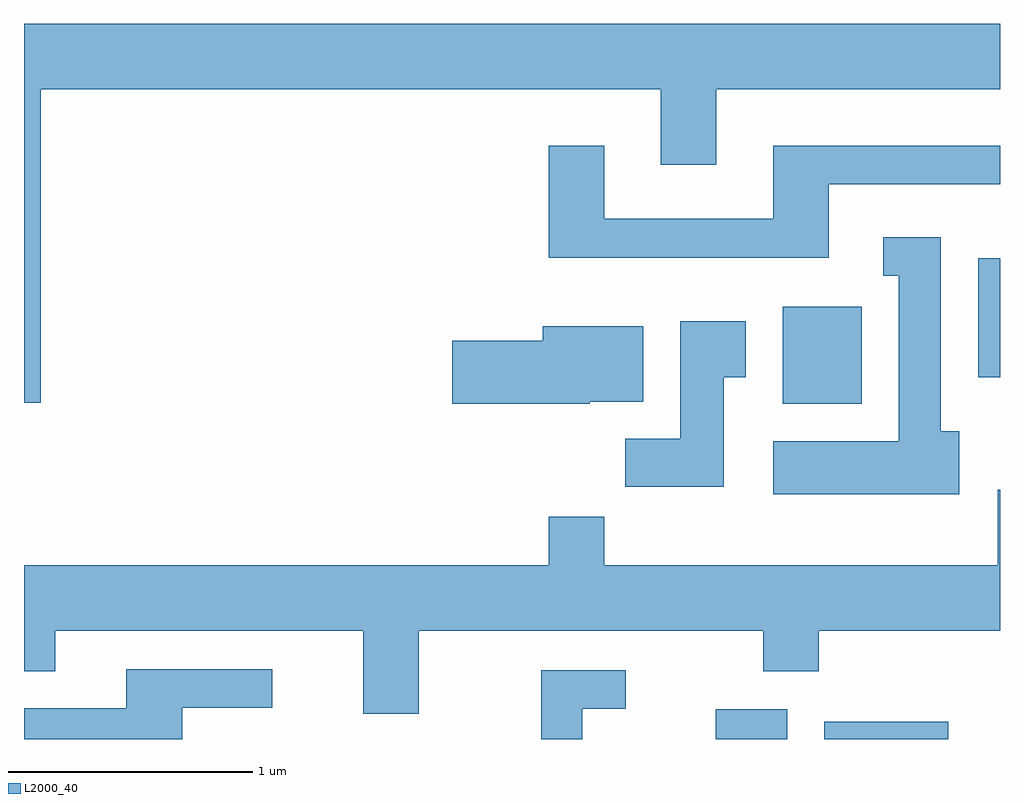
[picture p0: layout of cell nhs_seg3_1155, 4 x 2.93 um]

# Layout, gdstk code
import gdstk
lib = gdstk.Library(unit=1e-6, precision=1e-09)
def R(c, l, rs):  # rectangles x0, y0, x1, y1
    for r in rs: c.add(gdstk.rectangle(r[:2], r[2:], *l))
def P(c, l, *ps):  # polygons
    for p in ps: c.add(gdstk.Polygon(p, *l))
L2000_40 = (2000, 40)

nhs_seg3_1155 = lib.new_cell('nhs_seg3_1155')
R(nhs_seg3_1155, L2000_40, [(220.446,1249.892,220.739,1250.014), (220.891,1249.892,221.398,1249.964), (220.721,1251.266,221.044,1251.664), (221.521,1251.376,221.611,1251.864)])
P(nhs_seg3_1155, L2000_40, [(217.679,1252.556),(220.221,1252.556),(220.221,1252.246),(220.449,1252.246),(220.449,1252.556),(221.611,1252.556),(221.611,1252.824),(217.611,1252.824),(217.611,1251.271),(217.679,1251.271)],
  [(220.909,1252.166),(221.611,1252.166),(221.611,1252.324),(220.681,1252.324),(220.681,1252.024),(219.989,1252.024),(219.989,1252.324),(219.761,1252.324),(219.761,1251.866),(220.909,1251.866)],
  [(221.444,1251.154),(221.369,1251.154),(221.369,1251.949),(221.133,1251.949),(221.133,1251.791),(221.196,1251.791),(221.196,1251.114),(220.681,1251.114),(220.681,1250.896),(221.444,1250.896)],
  [(220.479,1251.376),(220.569,1251.376),(220.569,1251.604),(220.301,1251.604),(220.301,1251.124),(220.076,1251.124),(220.076,1250.926),(220.479,1250.926)],
  [(219.93,1251.276),(220.149,1251.276),(220.149,1251.584),(219.736,1251.584),(219.736,1251.524),(219.366,1251.524),(219.366,1251.266),(219.93,1251.266)],
  [(219.229,1250.336),(220.641,1250.336),(220.641,1250.171),(220.869,1250.171),(220.869,1250.336),(221.611,1250.336),(221.611,1250.914),(221.601,1250.914),(221.601,1250.604),(219.989,1250.604),(219.989,1250.804),(219.761,1250.804),(219.761,1250.604),(217.611,1250.604),(217.611,1250.171),(217.739,1250.171),(217.739,1250.336),(219.001,1250.336),(219.001,1249.996),(219.229,1249.996)],
  [(218.259,1250.021),(218.628,1250.021),(218.628,1250.179),(218.031,1250.179),(218.031,1250.019),(217.611,1250.019),(217.611,1249.892),(218.259,1249.892)],
  [(219.899,1250.016),(220.078,1250.016),(220.078,1250.174),(219.731,1250.174),(219.731,1249.892),(219.899,1249.892)])

lib.write_gds('nhs_seg3_1155.gds')
